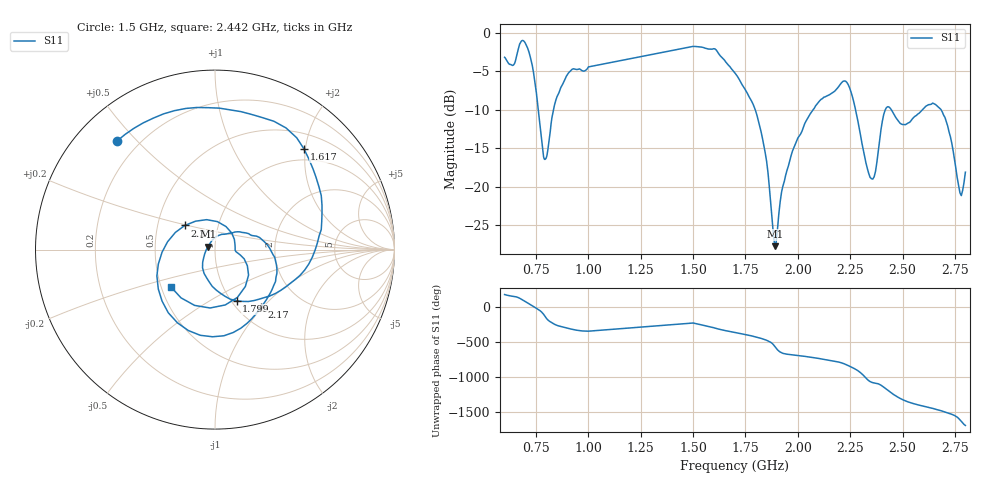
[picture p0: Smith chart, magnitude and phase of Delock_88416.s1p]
!File created by NanoVNA
# Hz S RI R 50
!LO
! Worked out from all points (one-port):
!   402 points, 600 MHz to 2.8 GHz, reference 50 ohm
!   lowest |S11| = -27.7 dB at 1.89 GHz (marker M1), VSWR 1.09, Z = 46.3 + j1.5 ohm
!   |S11| at or under -10 dB: 1.796 GHz to 2.073 GHz (276.7 MHz wide, 14.3 % of centre); 2.275 GHz to 2.418 GHz (142.4 MHz wide, 6.07 % of centre); 2.446 GHz to 2.595 GHz (148.9 MHz wide, 5.91 % of centre) (the widest 3 of 5)
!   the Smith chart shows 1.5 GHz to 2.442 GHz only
!   S11 on the Smith chart (normalised r, x): 1.5 GHz: 0.12, +0.44; 1.617 GHz: 0.78, +1.98; 1.799 GHz: 1.06, -0.67; 2.17 GHz: 1.27, -0.98; 2.3 GHz: 0.69, +0.19; 2.442 GHz: 0.56, -0.26
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6e8  -0.6926 0.00874
6.66e8  -0.5563 0.5607
6.88e8  -0.1245 0.8801
7.26e8  0.5729 0.3402
7.56e8  0.3268 -0.152
7.92e8  -0.092 -0.119
8.26e8  -0.1943 0.2029
8.76e8  0.1157 0.4453
9.96e8  0.5647 0.1575
1e9  0.5786 0.1566
1.5e9  -0.5464 0.6044
1.513e9  -0.4522 0.6755
1.617e9  0.4972 0.5585
1.7015e9  0.5416 -0.0437
1.799e9  0.1199 -0.2849
1.89e9  -0.0379 0.0161
1.981e9  0.1514 0.0956
2.1695e9  0.2581 -0.3201
2.2215e9  -0.0138 -0.4856
2.254e9  -0.2951 -0.2868
2.2995e9  -0.1681 0.1347
2.3515e9  0.1123 0.0113
2.3905e9  0.1803 -0.09
2.4425e9  -0.2442 -0.2096
2.527e9  0.0312 0.2576
2.631e9  0.3416 -0.0035
2.7025e9  0.1406 -0.2441
2.8e9  -0.0363 0.1189
